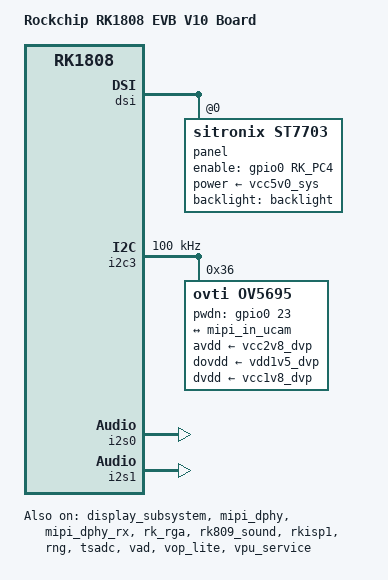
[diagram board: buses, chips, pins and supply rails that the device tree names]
// SPDX-License-Identifier: (GPL-2.0+ OR MIT)
/*
 * Copyright (c) 2018 Fuzhou Rockchip Electronics Co., Ltd
 */

/dts-v1/;
#include <dt-bindings/display/drm_mipi_dsi.h>
#include "rk1808-evb.dtsi"

/ {
	model = "Rockchip RK1808 EVB V10 Board";
	compatible = "rockchip,rk1808-evb-v10", "rockchip,rk1808";

	chosen {
		bootargs = "earlycon=uart8250,mmio32,0xff550000 console=ttyFIQ0 root=PARTUUID=614e0000-0000 rootfstype=ext4 rootwait swiotlb=1 kpti=0 snd_aloop.index=7";
	};

	vad-sound {
		status = "okay";
		compatible = "rockchip,multicodecs-card";
		rockchip,card-name = "rockchip,rk1808-vad";
		rockchip,cpu = <&i2s0>;
		rockchip,codec = <&vad>;
	};
};

&adc_key {
	vol-down-key {
		linux,code = <KEY_VOLUMEDOWN>;
		label = "volume down";
		press-threshold-microvolt = <300000>;
	};

	vol-up-key {
		linux,code = <KEY_VOLUMEUP>;
		label = "volume up";
		press-threshold-microvolt = <18000>;
	};
};

&display_subsystem {
	status = "okay";
};

&dsi {
	status = "okay";

	panel@0 {
		compatible = "sitronix,st7703", "simple-panel-dsi";
		reg = <0>;
		backlight = <&backlight>;
		enable-gpios = <&gpio0 RK_PC4 GPIO_ACTIVE_HIGH>;
		power-supply = <&vcc5v0_sys>;
		prepare-delay-ms = <2>;
		reset-delay-ms = <1>;
		init-delay-ms = <20>;
		enable-delay-ms = <120>;
		disable-delay-ms = <50>;
		unprepare-delay-ms = <20>;

		width-mm = <68>;
		height-mm = <121>;

		dsi,flags = <(MIPI_DSI_MODE_VIDEO | MIPI_DSI_MODE_VIDEO_BURST |
			      MIPI_DSI_MODE_LPM | MIPI_DSI_MODE_EOT_PACKET)>;
		dsi,format = <MIPI_DSI_FMT_RGB888>;
		dsi,lanes = <4>;

		panel-init-sequence = [
			05 fa 01 11
			39 00 04 b9 f1 12 83
			39 00 1c ba 33 81 05 f9 0e 0e 00 00 00
				 00 00 00 00 00 44 25 00 91 0a
				 00 00 02 4f 01 00 00 37
			15 00 02 b8 25
			39 00 04 bf 02 11 00
			39 00 0b b3 0c 10 0a 50 03 ff 00 00 00
				 00
			39 00 0a c0 73 73 50 50 00 00 08 70 00
			15 00 02 bc 46
			15 00 02 cc 0b
			15 00 02 b4 80
			39 00 04 b2 c8 12 30
			39 00 0f e3 07 07 0b 0b 03 0b 00 00 00
				 00 ff 00 c0 10
			39 00 0d c1 53 00 1e 1e 77 e1 cc dd 67
				 77 33 33
			39 00 07 c6 00 00 ff ff 01 ff
			39 00 03 b5 09 09
			39 00 03 b6 87 95
			39 00 40 e9 c2 10 05 05 10 05 a0 12 31
				 23 3f 81 0a a0 37 18 00 80 01
				 00 00 00 00 80 01 00 00 00 48
				 f8 86 42 08 88 88 80 88 88 88
				 58 f8 87 53 18 88 88 81 88 88
				 88 00 00 00 01 00 00 00 00 00
				 00 00 00 00
			39 00 3e ea 00 1a 00 00 00 00 02 00 00
				 00 00 00 1f 88 81 35 78 88 88
				 85 88 88 88 0f 88 80 24 68 88
				 88 84 88 88 88 23 10 00 00 1c
				 00 00 00 00 00 00 00 00 00 00
				 00 00 00 00 00 30 05 a0 00 00
				 00 00
			39 00 23 e0 00 06 08 2a 31 3f 38 36 07
				 0c 0d 11 13 12 13 11 18 00 06
				 08 2a 31 3f 38 36 07 0c 0d 11
				 13 12 13 11 18
			05 32 01 29
		];

		panel-exit-sequence = [
			05 00 01 28
			05 00 01 10
		];

		display-timings {
			native-mode = <&timing0>;

			timing0: timing0 {
				clock-frequency = <64000000>;
				hactive = <720>;
				vactive = <1280>;
				hfront-porch = <40>;
				hsync-len = <10>;
				hback-porch = <40>;
				vfront-porch = <22>;
				vsync-len = <4>;
				vback-porch = <11>;
				hsync-active = <0>;
				vsync-active = <0>;
				de-active = <0>;
				pixelclk-active = <0>;
			};
		};
	};
};

&i2c3 {
	status = "okay";

	clock-frequency = <100000>;

	ov5695: ov5695@36 {
		compatible = "ovti,ov5695";
		reg = <0x36>;
		clocks = <&cru SCLK_CIF_OUT>;
		clock-names = "xvclk";
		avdd-supply = <&vcc2v8_dvp>;
		dovdd-supply = <&vdd1v5_dvp>;
		dvdd-supply = <&vcc1v8_dvp>;
		pwdn-gpios = <&gpio0 23 GPIO_ACTIVE_HIGH>;
		pinctrl-names = "default";
		pinctrl-0 = <&cif_clkout_m0>;
		port {
			ucam_out: endpoint {
				remote-endpoint = <&mipi_in_ucam>;
				data-lanes = <1 2>;
			};
		};
	};
};

&i2s0 {
	status = "okay";
	#sound-dai-cells = <0>;
};

&i2s1 {
	status = "okay";
	#sound-dai-cells = <0>;
};

&isp_mmu {
	status = "okay";
};

&mipi_dphy {
	status = "okay";
};

&mipi_dphy_rx {
	status = "okay";

	ports {
		#address-cells = <1>;
		#size-cells = <0>;

		port@0 {
			reg = <0>;
			#address-cells = <1>;
			#size-cells = <0>;

			mipi_in_ucam: endpoint@1 {
				reg = <1>;
				remote-endpoint = <&ucam_out>;
				data-lanes = <1 2>;
			};
		};

		port@1 {
			reg = <1>;
			#address-cells = <1>;
			#size-cells = <0>;

			dphy_rx0_out: endpoint@0 {
				reg = <0>;
				remote-endpoint = <&isp0_mipi_in>;
			};
		};
	};
};

&rk_rga {
	status =  "okay";
};

&rk809_sound {
	status = "okay";
};

&rkisp1 {
	status = "okay";

	port {
		#address-cells = <1>;
		#size-cells = <0>;

		isp0_mipi_in: endpoint@0 {
			reg = <0>;
			remote-endpoint = <&dphy_rx0_out>;
		};
	};
};

&rng {
	status = "okay";
};

&rockchip_suspend {
	status = "okay";
	rockchip,sleep-debug-en = <1>;
};

&route_dsi {
	status = "disabled";
};

&tsadc {
	rockchip,hw-tshut-mode = <1>; /* tshut mode 0:CRU 1:GPIO */
	rockchip,hw-tshut-polarity = <0>; /* tshut polarity 0:LOW 1:HIGH */
	pinctrl-names = "gpio", "otpout";
	pinctrl-0 = <&tsadc_otp_gpio>;
	pinctrl-1 = <&tsadc_otp_out>;
	status = "okay";
};

&vad {
	status = "okay";
	rockchip,audio-src = <&i2s0>;
	rockchip,buffer-time-ms = <200>;
	rockchip,det-channel = <0>;
	rockchip,mode = <1>;
	#sound-dai-cells = <0>;
};

&vop_lite {
	status = "okay";
};

&vopl_mmu {
	status = "okay";
};

&vpu_mmu {
	status = "okay";
};

&vpu_service {
	status = "okay";
};
